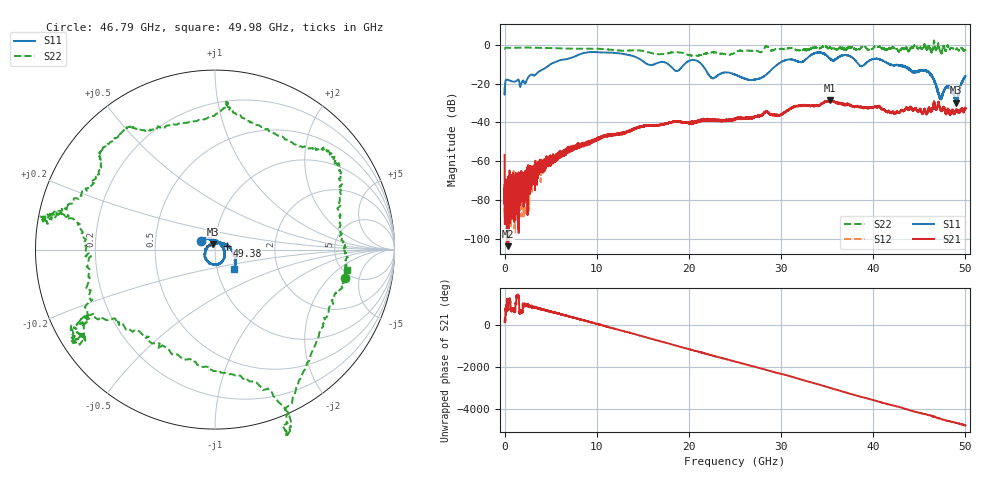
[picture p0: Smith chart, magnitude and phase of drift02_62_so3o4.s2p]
!Created with skrf (http://scikit-rf.org).
# Hz S RI R 50.0
!freq ReS11 ImS11 ReS21 ImS21 ReS12 ImS12 ReS22 ImS22
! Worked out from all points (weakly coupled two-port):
!   10001 points, 300 kHz to 50 GHz, reference 50 ohm
!   highest |S21| = -28.52 dB at 35.32 GHz (marker M1); lowest = -103.9 dB at 400.3 MHz (marker M2)
!   lowest |S11| = -29.9 dB at 49.02 GHz (marker M3), VSWR 1.07, Z = 48.9 + j2.96 ohm
!   |S11| at or under -10 dB: start of sweep to 4.956 GHz; 21.38 GHz to 29.63 GHz (8.252 GHz wide, 32.4 % of centre); 41.83 GHz to end of sweep (the widest 3 of 7)
!   |S22| runs from -5.7 to 2.3 dB; largest |S21 - S12| = 0.0033
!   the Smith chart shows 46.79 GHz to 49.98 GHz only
!   S11 on the Smith chart (normalised r, x): 46.79 GHz: 0.85, +0.08; 49.38 GHz: 1.14, +0.05; 49.98 GHz: 1.21, -0.27
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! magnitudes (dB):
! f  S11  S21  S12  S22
! 300 kHz  -22.3  -56.7  -73.5  -2.1
! 255.3 MHz  -17.9  -72.9  -70.0  -1.4
! 400.3 MHz  -18.1  -103.9  -86.4  -1.4
! 1.87 GHz  -19.1  -76.5  -70.1  -1.3
! 8.335 GHz  -4.5  -51.8  -51.3  -1.9
! 16.67 GHz  -9.1  -41.5  -41.3  -4.7
! 18.7 GHz  -13.5  -39.6  -39.6  -3.7
! 20.6 GHz  -7.7  -39.6  -39.5  -5.7
! 22.5 GHz  -17.1  -38.5  -38.6  -3.7
! 25 GHz  -15.3  -38.4  -38.9  -3.9
! 27.5 GHz  -17.5  -36.6  -36.8  -3.3
! 33.34 GHz  -4.9  -31.3  -31.2  -1.6
! 35.32 GHz  -7.1  -28.5  -28.7  -1.3
! 41.67 GHz  -9.7  -34.2  -34.1  -1.9
! 45.79 GHz  -13.6  -35.5  -35.8  -2.3
! 46.79 GHz  -20.5  -33.4  -33.1  -2.6
! 47.28 GHz  -27.8  -33.1  -32.9  -3.3
! 48.14 GHz  -21.3  -33.0  -33.5  -0.8
! 49.02 GHz  -29.9  -34.2  -33.9  -2.0
! 49.38 GHz  -23.1  -34.4  -34.5  -2.6
! 49.98 GHz  -16.3  -32.2  -32.5  -2.6
! 50 GHz  -16.1  -32.8  -32.7  -2.7
